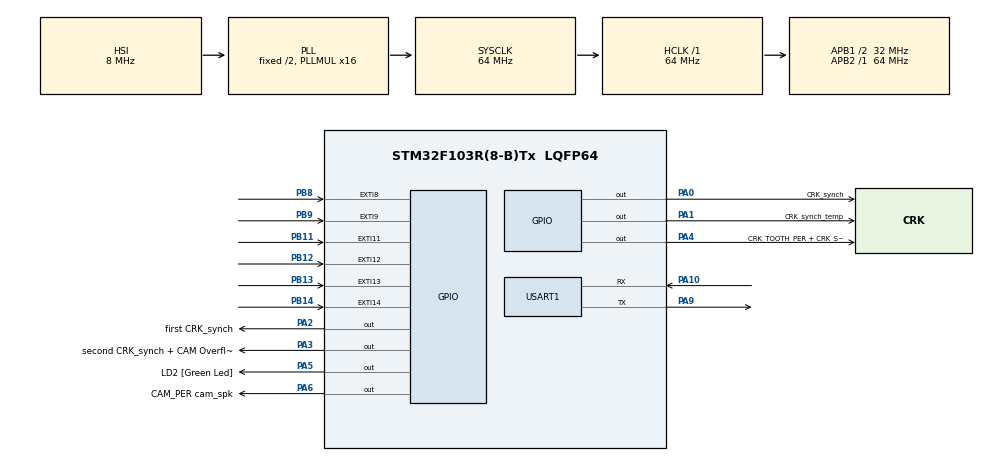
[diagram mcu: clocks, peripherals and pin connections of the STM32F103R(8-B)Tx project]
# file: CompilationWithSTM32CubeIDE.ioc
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Mcu.Family=STM32F1
Mcu.Name=STM32F103R(8-B)Tx
Mcu.Package=LQFP64
NVIC.EXTI15_10_IRQn=true\:0\:0\:false\:false\:true\:true\:true\:true
NVIC.EXTI9_5_IRQn=true\:0\:0\:false\:false\:true\:true\:true\:true
NVIC.PriorityGroup=NVIC_PRIORITYGROUP_4
NVIC.TIM1_UP_IRQn=true\:0\:0\:false\:false\:true\:true\:true\:true
NVIC.TIM2_IRQn=true\:0\:0\:false\:false\:true\:true\:true\:true
NVIC.TIM3_IRQn=true\:0\:0\:false\:false\:true\:true\:true\:true
NVIC.TIM4_IRQn=true\:0\:0\:false\:false\:true\:true\:true\:true
NVIC.USART1_IRQn=true\:0\:0\:false\:false\:true\:true\:true\:true
PA0-WKUP.GPIO_Label=CRK_synch 
PA0-WKUP.Signal=GPIO_Output
PA1.GPIO_Label=CRK_synch_temp
PA1.Signal=GPIO_Output
PA10.Mode=Asynchronous
PA10.Signal=USART1_RX
PA13.GPIO_Label=TMS
PA13.Mode=Serial_Wire
PA13.Signal=SYS_JTMS-SWDIO
PA14.GPIO_Label=TCK
PA14.Mode=Serial_Wire
PA14.Signal=SYS_JTCK-SWCLK
PA2.GPIO_Label=first CRK_synch
PA2.Signal=GPIO_Output
PA3.GPIO_Label=second CRK_synch + CAM Overflow + CRK Overflow
PA3.Signal=GPIO_Output
PA4.GPIO_Label=CRK_TOOTH_PER + CRK_SHO_LEVEL  + SEG_ADP_ER_LIM + CrkPlsOrng + CRK_GAP_NOT_DET
PA4.Signal=GPIO_Output
PA5.GPIO_Label=LD2 [Green Led]
PA5.GPIO_ModeDefaultOutputPP=GPIO_MODE_OUTPUT_PP
PA5.GPIO_PuPd=GPIO_NOPULL
PA5.GPIO_Speed=GPIO_SPEED_FREQ_LOW
PA5.Signal=GPIO_Output
PA6.GPIO_Label=CAM_PER cam_spk
PA6.Signal=GPIO_Output
PA9.Mode=Asynchronous
PA9.Signal=USART1_TX
PB11.Signal=GPXTI11
PB12.Signal=GPXTI12
PB13.Signal=GPXTI13
PB14.Signal=GPXTI14
PB3.GPIO_Label=SWO
PB3.Signal=SYS_JTDO-TRACESWO
PB8.Signal=GPXTI8
PB9.Signal=GPXTI9
PC14-OSC32_IN.Signal=RCC_OSC32_IN
PC15-OSC32_OUT.Signal=RCC_OSC32_OUT
PD0-OSC_IN.Signal=RCC_OSC_IN
PD1-OSC_OUT.Signal=RCC_OSC_OUT
ProjectManager.HeapSize=0x200
ProjectManager.StackSize=0x400
ProjectManager.TargetToolchain=STM32CubeIDE
RCC.AHBFreq_Value=64000000
RCC.APB1CLKDivider=RCC_HCLK_DIV2
RCC.APB1Freq_Value=32000000
RCC.APB1TimFreq_Value=64000000
RCC.APB2Freq_Value=64000000
RCC.APB2TimFreq_Value=64000000
RCC.HCLKFreq_Value=64000000
RCC.PLLMUL=RCC_PLL_MUL16
RCC.SYSCLKFreq_VALUE=64000000
RCC.SYSCLKSource=RCC_SYSCLKSOURCE_PLLCLK
RCC.USBFreq_Value=64000000
TIM1.Period=62999
TIM1.Prescaler=119
TIM2.Period=62999
TIM2.Prescaler=479
TIM3.Period=62999
TIM3.Prescaler=15
TIM4.Period=719
USART1.VirtualMode=VM_ASYNC
VP_TIM1_VS_ClockSourceINT.Mode=Internal
VP_TIM2_VS_ClockSourceINT.Mode=Internal
VP_TIM3_VS_ClockSourceINT.Mode=Internal
VP_TIM4_VS_ClockSourceINT.Mode=Internal
board=NUCLEO-F103RB

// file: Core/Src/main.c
/* USER CODE BEGIN Header */
/**
 ******************************************************************************
 * @file    	  main.c
 * @brief   	  Main program
 * 				  Project name	: STM32-Jammerbox
 * 				  Controller	: STM32F103RB
 * @date		  25 May 2022
 ******************************************************************************
 * @attention
 *
 * All rights reserved.
 *
 * This software is licensed under terms that can be found in the LICENSE file
 * in the root directory of this software component.
 * If no LICENSE file comes with this software, it is provided AS-IS.
 *
 ******************************************************************************
 */

/* USER CODE END Header */
#include "main.h"
#include "tim.h"
#include "usart.h"
#include "gpio.h"

/* USER CODE BEGIN Includes */
// ### Standard includes ###
#include <stdbool.h>
#include <stdint.h>
//#include "stm32f1xx_hal_gpio.h"

// ### Software includes ###

#include "../../JammerBox_Source/header/failures.h"
#include "../../JammerBox_Source/header/synchronization.h"
#include "../../JammerBox_Source/header/system_configuration.h"
#include "../../JammerBox_Source/header/timer.h"
#include "../../JammerBox_Source/header/usart_soft.h"
/* USER CODE END Includes */

/* USER CODE BEGIN PM */
//** CAM_delay **
#define edges_beetween_shift_CAM_delay_definition 6
/* USER CODE END PM */

/* USER CODE BEGIN PV */
/* Global variables ----------------------------------------------------------*/
//***************** CRK ********************
//** User config **
int number_teeth_CRK = 0;
int number_miss_teeth = 0;
int number_gap = 0;
double tdc_to_gap = 0;
double first_seg_angle = 0;
int number_cylinder = 0;
unsigned int first_seg_start_tooth = 0;
double gap_ratio_CRK_DET = 0; // Typical Value for C_CRK_GAP_DET = 1.375
// Gap ratio CRK for Gap Validation
double gap_ratio_CRK_VLD = 0; // Typical Value for C_CRK_GAP_VLD = 3
char sensortype_CRK;          // c = CPDD  h = hall sensor

//Variables to replace the input capture buffer
unsigned long IC1BUF;
unsigned long IC2BUF;
unsigned long IC3BUF;
unsigned long IC4BUF;
unsigned long IC5BUF;
unsigned long IC6BUF;

//** Calculation variables **
unsigned long T_TOOTH_RAW_2 = 0;
unsigned long T_TOOTH_RAW_1 = 0;
unsigned long T_TOOTH_RAW = 0;
unsigned long T_TOOTH_RAW_2_old = 0;
unsigned long T_TOOTH_RAW_1_old = 0;
unsigned long T_TOOTH_RAW_old = 0;
unsigned long low_time_CRK = 0;
unsigned long timer_overflow_CRK = 0;
unsigned int teeth_count_CRK = 0;
unsigned int teeth_count_CAM_CRK_synch = 0;
unsigned int teeth_count_CAM_CRK_synch_ahead = 0;
unsigned int number_real_teeth = 0;
unsigned int number_teeth_between_gaps = 0;
unsigned int delay_counter_CRK = 0;
unsigned int segment_counter_CRK = 0;
unsigned int number_segments_CRK = 0;
unsigned int shift_counter_CRK = 0;
unsigned int start_delay = 100;
unsigned int engine_start_counter = 0;
unsigned int engine_start_counter_limit = 2;
double revolution_CRK = 0;
bool CRK_synch = false;
bool CRK_synch_temp = false;
bool delay_off = false;
bool CRK_signal = false;
bool CRK_config = false;
bool engine_start = false;
bool synch_times_valid = false;

//***************** CAM ********************
//** User config **
unsigned int number_active_edges_CAM[2];
int number_teeth_CAM[2] =
{ 0, 0 };
double filter_time_CAM[2];
double CAM_edges[2][24];
double distance_gap_to_CAM_edge[2][24];
double first_edge_to_tdc0[2] =
{ 0, 0 };
char active_CAM_edges[2]; // f: falling; r: rising; b: both
char sensortype_CAM[2];
int number_of_CAM = 1;
int cam_setup_counter = 0;

//***************** CAM/CRK - configuration completion and output port setting ********************
bool configuration_complete = false;
bool output_level_setting = false;

//***************** CAM/CRK ****************
//** Calculation variables **
unsigned long timer_overflow_CAM = 0;
unsigned long segment_time_CAM = 0;
unsigned int edge_count_CAM[2] =
{ 0, 0 };
unsigned int edge_validation_counter_CAM[2] =
{ 0, 0 };
unsigned int edge_position_counter_CAM[2] =
{ 0, 0 };
unsigned int former_edge_position_CAM[2] =
{ 0, 0 };
unsigned int edge_validation_counter_CAM_ahead[2] =
{ 0, 0 };
unsigned int edge_position_counter_CAM_ahead[2] =
{ 0, 0 };
unsigned int former_edge_position_CAM_ahead[2] =
{ 0, 0 };
double gap_to_edge;
double gap_to_edge_ahead;
double gap_to_first_edge[2] =
{ 0, 0 };
double gap_to_first_edge_difference[2] =
{ 0, 0 };
double tolerance_window_CAM[2];
bool CAM_tolerance_switch[2] =
{ false, false };
bool CAM_CRK_synch_status = false;
bool CAM_CRK_synch_status_ahead = false;
bool CAM_CRK_synch_ahead[2] =
{ false, false };
bool CAM_signal[2] =
{ false, false };
bool CRK_CAM_synch[2] =
{ false, false };
bool CAM_config = false;
int teeth_count_overall = 0;

//***************** Communication validation ************
bool communication_active = false;
bool communication_ready = false;
bool communication_validation = false;

//********** Failure treatment **************
char failure_identify = '0';
// 0: No failure
// 1: CRK_NO_SIG
// 2: CAM_NO_SIG
// 3: CAM/CRK_NO_SIG
// 4: CRK_RUN_OUT
// 5: CAM_PER
// 6: CRK_TOOTH_PER
// 7: CAM_TOOTH_OFF
// 8: CAM_SYN
// 9: CAM_SYN_CRK
// a: CAM_REF_CRK
// b: CRK_SHO_LEVEL
// f: CRK_TOOTH_NR

int active_cam_failure = 0;
// 0: Failur is active on CAM1
// 1: Failur is active on CAM2
// 2: Failur is active on CAM1 and CAM2

//** Labels indicating failure status **
bool failure_active = false;
bool failure_active_CAM_blank_out = false;
bool failure_set = false;
bool failure_passed = false;
bool failure_waiting = false;

//** Labels indicating failure configuration status response to user interface **
bool failure_configured = false;
bool failure_configured_CAM_blank_out = false;

//** Timer overflow values for CRK and CAM - failures
unsigned long timer_overflow_CRK_failure = 0;
unsigned long timer_overflow_CAM_failure = 0;
unsigned long timer_overflow_CAM_REF_CRK = 0;

//** CRK_RUN_OUT **
char sc_type_CRK_RUN_OUT;
unsigned int teeth_counter_CRK_RUN_OUT = 0;
unsigned int angle_to_start_failure_CRK_RUN_OUT;
unsigned int failure_period_CRK_RUN_OUT;
unsigned int counter_TDC0;
int period_counter_CRK_RUN_OUT;
double difference_to_edge_TDC0;
double difference_to_edge_failure_start;
bool detected_TDC0;
bool TDC_on_edge;
bool counter_ready = false;
bool counter_reset = true;

//** CAM_PER **
unsigned int counter_CAM_PER[2] =
{ 0, 0 };
unsigned int number_edges_CAM_PER;
double filter_time_CAM_PER;
double microsecond_per_timer_tick_CAM_PER__CRK_TOOTH_PER = 0.217;
bool all_active_edges_CAM_PER = false;
char active_edges_CAM_PER; // f: falling; r: rising; b: both

//** CRK_TOOTH_PER **
unsigned int start_tooth_CRK_TOOTH_PER;
unsigned int number_pulses_CRK_TOOTH_PER;
unsigned int engine_revolutions_CRK_TOOTH_PER;
unsigned int teeth_counter_CRK_TOOTH_PER;
unsigned int revolution_counter_CRK_TOOTH_PER;
double calculation_factor_CRK_TOOTH_PER;

//** CAM_DELAY(CAM_TOOTH_OFF / CAM_REF_CRK / CAM_SYN / CAM_SYN_CRK) **
unsigned int number_processing_edges_CAM_delay[2] =
{ 0, 0 };
const unsigned int edges_beetween_shift_CAM_delay = 6;
unsigned int shift_counter_CAM_delay[2][edges_beetween_shift_CAM_delay_definition];
double angle_to_edge_CAM_delay[2][edges_beetween_shift_CAM_delay_definition];
double delay_angle_CAM_delay;
double delay_factor_CAM_delay = 1.0;
bool timer_active_CAM_delay[2] =
{ false, false };
bool interrupt_check_CAM_delay[2];

//** CAM_REF_CRK **
unsigned int delay_counter_CAM_REF_CRK;
long double angle_time_to_start_failure_CAM_REF_CRK; // Value Delay (ms or �CRK)
double difference_to_edge_failure_start_CAM_REF_CRK;
char delay_type_CAM_REF_CRK; // t: time / c: �CRK

//** CRK_TOOTH_OFF **
unsigned int number_tooth_off = 0;
unsigned int number_teeth_between_tooth_off = 0;
unsigned int counter_tooth_off = 0;
unsigned int teeth_counter_CRK_TOOTH_OFF = 0;
unsigned int counter_gap_left_CRK_TOOTH_OFF = 0;

//** CRK_GAP_NOT_DET **
unsigned int teeth_counter_CRK_GAP_NOT_DET = 0;
unsigned int timer_Counter_CRK_GAP_NOT_DET = 0;

//** SEG_ADP_ER_LIM **
unsigned int teeth_counter_SEG_ADP_ER_LIM = 0;
unsigned int timer_Counter_SEG_ADP_ER_LIM = 0;
double crk_delay_SEG_ADP_ER_LIM = 0;

//** CRK_PLS_ORNG **
double crk_pulse_duration_CRK_PLS_ORNG = 0;

//** POSN_ENG_STST_LOSS **
unsigned int crk_teeth_off_POSN_ENG_STST = 0;
unsigned int counter_POSN_ENG_STST = 0;

//** CAM_PAT_ERR **
unsigned int active_CAM_edges_counter[2] =
{ 0, 0 };

//** SC_CAM_CRK **
unsigned int sc_type_SC_CAM_CRK = 0;

//**Signal recording of CRK and CAM**
volatile bool should_record;

//***************** UART ********************
//** Receive **
int char_counter = 0;
int data_counter = 0;
char in;
char start_char = '!';
char end_char = '%';
uint8_t input_chars[25];
char input[250];
int input_char_counter = 0;
char temp_chars_1[21];
char temp_chars_2[21];
char temp_chars_3[21];
char temp_chars_4[21];
char temp_chars_5[21];
char temp_chars_6[21];
char temp_chars_7[21];
char temp_chars_8[21];
char temp_chars_9[21];
char temp_chars_10[21];
bool receiving = false;
bool message_received = false;
bool com_error = false;
char message_identify;

//** Send **
char message[14] =
{ '1', '2', '3', '4', '5', '6', '7', '8', '9', 'a', 'b', 'z', 'x', 'y' };
// 1: COM-error
// 2: CRK-configuration ready
// 3: CAM-configuration ready
// 4: CRK-synchronization ready
// 5: CRK-synchronization lost
// 6: CAM/CRK-synchronization ready
// 7: CAM/CRK-synchronization lost
// 8: Failure active
// 9: Failure passive
// a: Failure CAM blank out active
// b: Failure CAM blank out passive
// z: Communication validation
// x: Communication receive ready
// y: Communication receive not ready
/* USER CODE END PV */

void SystemClock_Config(void);
/* USER CODE BEGIN PFP */
void TIM1_PeriodElapsedCallback(void);
void TIM2_PeriodElapsedCallback(void);
void TIM3_PeriodElapsedCallback(void);
void TIM4_PeriodElapsedCallback(void);
/* USER CODE END PFP */

/* USER CODE BEGIN 0 */

// ### EXTI Callback functions ###
void HAL_GPIO_EXTI_Callback(uint16_t GPIO_Pin)
{
	if (GPIO_Pin == 8) // Capture Event rising edge --CRK--
	{
		CRK_signal = true; // Set actual signal level

		if (should_record)
		{
			bool is_crk_buffer_full = CRK_save(GetTimestamp(), CRK_signal);
			if (is_crk_buffer_full)
			{
				should_record = false;
				// Should send CRK and CAM signals if not already sending
			}
		}

		if (failure_active == false) // Set CRK-output
		{
			output_CRK_no_failure();
		}
		else if (failure_identify != '1' && failure_identify != '4'
				&& failure_identify != 'f' && failure_identify != 'b'
				&& failure_identify != 'i' && failure_identify != 'j'
				&& failure_identify != 'k' && failure_identify != 'l'
				&& failure_identify != 'm')
		{
			output_CRK_no_failure();
		}

		low_time_CRK = IC1BUF; // Set actual low time of CRK signal

		output_CRK(failure_identify); // CRK Output
		timer_overflow_CRK = 0;       // edge was detected, so no stalling

	}

	if (GPIO_Pin == 9) //## Capture Event falling edge --CRK--
	{
		CRK_signal = false; // Set actual signal level

		if (should_record)
		{
			bool is_crk_buffer_full = CRK_save(GetTimestamp(), CRK_signal);
			if (is_crk_buffer_full)
			{
				should_record = false;
				// Should send CRK and CAM signals if not already sending
			}
		}

		if (failure_active == false) // Set CRK-output
		{
			output_CRK_no_failure();
		}
		else if (failure_identify != '1' && failure_identify != '4'
				&& failure_identify != 'f' && failure_identify != 'h'
				&& failure_identify != 'i' && failure_identify != 'j'
				&& failure_identify != 'k' && failure_identify != 'l'
				&& failure_identify != 'm')
		{
			output_CRK_no_failure();
		}

		sync_CRK_preparation(); // CRK synchronisation preparation

		output_CRK(failure_identify); // CRK Output
		if (configuration_complete == true)
		{
			sync_CRK(); // CRK synchronisation
		}
		timer_overflow_CRK = 0; // edge was detected, so no stalling
	}

	if (GPIO_Pin == 14) //## Capture Event rising edge --CAM1--
	{

		CAM_signal[0] = true; // Set actual signal level

		if (should_record)
		{
			bool is_cam_buffer_full = CAM_save(GetTimestamp(), CAM_signal[0]);
			if (is_cam_buffer_full)
			{
				should_record = false;
				// Should send CRK and CAM signals if not already sending
			}
		}

		output_CAM(failure_identify, 0); // CAM1 Output

		if (configuration_complete == true)
		{
			sync_CAM_CRK(0); // CAM_CRK Synchronisation
		}
		timer_overflow_CAM = 0; // edge was detected, so no stalling
	}

	if (GPIO_Pin == 11)	//## Capture Event falling edge --CAM1--
	{
		CAM_signal[0] = false;	// Set actual signal level

		if (should_record)
		{
			bool is_cam_buffer_full = CAM_save(GetTimestamp(), CAM_signal[0]);
			if (is_cam_buffer_full)
			{
				should_record = false;
				// Should send CRK and CAM signals if not already sending
			}
		}

		TIM2_Reset();

		output_CAM(failure_identify, 0);	// CAM1 Output

		if (configuration_complete == true)
		{
			sync_CAM_CRK(0); // CAM_CRK Synchronisation
		}
		timer_overflow_CAM = 0; // edge was detected, so no stalling
	}

	if (GPIO_Pin == 12) //## Capture Event rising edge --CAM2--
	{
		CAM_signal[1] = true; // Set actual signal level

		output_CAM(failure_identify, 1); // CAM2 Output

		if (configuration_complete == true)
		{
			sync_CAM_CRK(1); // CAM_CRK Synchronisation
		}
		timer_overflow_CAM = 0; // edge was detected, so no stalling
	}

	if (GPIO_Pin == 13) //## Capture Event falling edge --CAM2--
	{
		if (number_of_CAM == 2)
		{
			CAM_signal[1] = false; // Set actual signal level

			TIM2_Reset();

			output_CAM(failure_identify, 1); // CAM2 Output

			if (configuration_complete == true)
			{
				sync_CAM_CRK(1); // CAM_CRK Synchronisation
			}
			timer_overflow_CAM = 0; // edge was detected, so no stalling
		}
	}
}

void HAL_TIM_PeriodElapsedCallback(TIM_HandleTypeDef *htim)
{
	if (htim == &htim1)
	{
		TIM1_PeriodElapsedCallback();
	}
	if (htim == &htim2)
	{
		TIM2_PeriodElapsedCallback();
	}
	if (htim == &htim3)
	{
		TIM3_PeriodElapsedCallback();
	}
	if (htim == &htim4)
	{
		TIM4_PeriodElapsedCallback();
	}
}

//## Timer 1 Interrupt CRK tooth time (previously timer2)

void TIM1_PeriodElapsedCallback(void)
{

	// all overflows between the events
	timer_overflow_CRK++;
}

//## Timer 2 Interrupt CAM tooth time (previously timer3)

void TIM2_PeriodElapsedCallback(void)
{
// all overflows between the events
// test
	timer_overflow_CAM++;
}
//## Timer 3 Interrupt: CAM_PER - start value

void TIM3_PeriodElapsedCallback(void)
{

	if (failure_identify == '5')
	{ // CAM_PER: error identified by '5'

		if (HAL_GPIO_ReadPin(GPIOA, GPIO_PIN_11) == 1)
		{
			HAL_GPIO_WritePin(GPIOA, GPIO_PIN_11, GPIO_PIN_RESET);
		}
		else
		{
			HAL_GPIO_WritePin(GPIOA, GPIO_PIN_11, GPIO_PIN_SET);
		}

		counter_CAM_PER[0]++; // Number of times we lost CAM with timer 6
		if (counter_CAM_PER[0] == 2)
		{
			HAL_TIM_Base_Stop(&htim3);
			counter_CAM_PER[0] = 0; // Reset timer 6 CAM lost counter
		}
		__HAL_TIM_SET_COUNTER(&htim3, 0); // reset the timers counter
	}
	else if (failure_identify == '6')
	{ // CRK_TOOTH_PER

		// Load the period value 20us  here
		// Timer period = Clock_Period * (PSC+1) * (ARR+1)
		// ideally we want the lowest possible PSC
		// But ARR must not exceed (2^16)-1 = 65535
		// 72Mhz*PSC+1*ARR+1

		__HAL_TIM_SET_AUTORELOAD(&htim4, 1439); // Define ARR value 20us*72Mhz = 1440 (PSC=0 pour TIM7)

		HAL_TIM_Base_Stop(&htim4);

		if (HAL_GPIO_ReadPin(GPIOA, GPIO_PIN_4) == 1)
		{
			HAL_GPIO_WritePin(GPIOA, GPIO_PIN_4, GPIO_PIN_RESET);
		}
		else
		{
			HAL_GPIO_WritePin(GPIOA, GPIO_PIN_4, GPIO_PIN_SET);
		}

		HAL_TIM_Base_Stop(&htim3);
	}
	else if (failure_identify == 'b')
	{ // CRK_SHO_LEVEL

		HAL_GPIO_WritePin(GPIOA, GPIO_PIN_4, GPIO_PIN_SET);

		HAL_TIM_Base_Stop(&htim3);
	}
}

//## Timer 4 Interrupt: CAM_PER - pulse duration

void TIM4_PeriodElapsedCallback(void)
{

	if (failure_identify == '5') // CAM_PER --> Cam_Spk
	{
		if (HAL_GPIO_ReadPin(GPIOA, GPIO_PIN_6) == 1)
		{
			HAL_GPIO_WritePin(GPIOA, GPIO_PIN_6, GPIO_PIN_RESET);
		}
		else
		{
			HAL_GPIO_WritePin(GPIOA, GPIO_PIN_6, GPIO_PIN_SET);
		}

		counter_CAM_PER[1]++; // Number of times we lost CAM with timer 7
		if (counter_CAM_PER[1] == 2)
		{

			HAL_TIM_Base_Stop(&htim4);

			counter_CAM_PER[1] = 0; // Reset timer 7 CAM counter
		}

		__HAL_TIM_SET_COUNTER(&htim4, 0);
	}
	else if (failure_identify == '6') // CRK_TOOTH_PER
	{
		if (HAL_GPIO_ReadPin(GPIOA, GPIO_PIN_4) == 1)
		{
			HAL_GPIO_WritePin(GPIOA, GPIO_PIN_4, GPIO_PIN_RESET);
		}
		else
		{
			HAL_GPIO_WritePin(GPIOA, GPIO_PIN_4, GPIO_PIN_SET);
		}

		HAL_TIM_Base_Stop(&htim4);
	}
	else if (failure_identify == 'j')
	{ // SEG_ADP_ER_LIM

		timer_Counter_SEG_ADP_ER_LIM++;
		switch (timer_Counter_SEG_ADP_ER_LIM)
		{
		case 1:
		{ // failure for the falling edge
			HAL_GPIO_WritePin(GPIOA, GPIO_PIN_4, GPIO_PIN_RESET);
			if (failure_waiting == true)
			{ // if the rising edge has already happen
				if (sensortype_CRK == 'c') // sensor is cpdd
				{
					SysTick_Config(3600); // 72MHz*50us=3600
				}
				else if (sensortype_CRK == 'h')
				{ // all the others
					SysTick_Config((T_TOOTH_RAW / 2) - 1);
				}
				else
				{
					// if sensor type not set, shouldn't happen
					SysTick_Config(1);
				}

				// Start timer systick
				HAL_ResumeTick();
			}
			failure_passed = true;
			break;
		}
		case 2:
		{                           // failure for the rising edge
			SEG_ADP_ER_LIM_reset(); //SEG_... failure_inactive, passed and waiting =false, init timer 7 & 8, SEG_...error counter reset
			break;
		}
		}
		HAL_TIM_Base_Stop(&htim4);
	}
	else if (failure_identify == 'k') // CrkPlsOrng
	{
		HAL_GPIO_WritePin(GPIOA, GPIO_PIN_4, GPIO_PIN_SET);

		HAL_TIM_Base_Stop(&htim4);
	}
	else
	{
		HAL_TIM_Base_Stop(&htim4);
	}
}

// ### USART Receive Callback function ###
void HAL_UART_RxCpltCallback(UART_HandleTypeDef *huart)
{
	HAL_GPIO_WritePin(GPIOA, GPIO_PIN_5, GPIO_PIN_SET);
// Likely similar to an interrupt triggering whenever a char is received as all the receptions we will get are of size 1 char
	if (huart == &huart1)
	{
		// UART Receive
		USART_ProcessMessage();

		//? the receiver buffer and the UxRSR to the empty state
		USART_ProcessMessage();
	}
	else
	{
		char_counter++;

		if (com_error == false && receiving == true && in != end_char)
		{
			input_chars[char_counter - 2] = in; // write received char in array
		}
		else if (com_error == false && in == end_char && receiving == true
				&& char_counter > 2)
		{
			input_chars[char_counter - 2] = '\0'; // set length of array

			char_counter = 0; // reset counter value
			receiving = false; // reset label that indicates receiving status
			message_received = true; // set label that indicates succesfully received message
		}
		else if (in == start_char && char_counter == 1)
		{

			char_counter = 0;        // reset counter value
			receiving = false; // reset label that indicates receiving status
			message_received = true; // set label that indicates succesfully received message
		}
		else if (in == start_char && char_counter == 1)
		{
			uint8_t msg13 = message[13];
			HAL_UART_Transmit_IT(&huart1, &msg13, 1);
			receiving = true;  // set label that indicates receiving status
			com_error = false; // reset COM error, due to received start char
		}
		else
		{
			// send failure message
		}
	}
	USART_ProcessMessage();
}

/* USER CODE END 0 */

int main(void)
{

  /* MCU Configuration--------------------------------------------------------*/

  /* Reset of all peripherals, Initializes the Flash interface and the Systick. */
  HAL_Init();

  /* Configure the system clock */
  SystemClock_Config();

  /* Initialize all configured peripherals */
  MX_GPIO_Init();
  MX_TIM1_Init();
  MX_TIM2_Init();
  MX_TIM3_Init();
  MX_TIM4_Init();
  MX_USART1_UART_Init();
  /* USER CODE BEGIN 2 */
// ## User init ##
	SysTickInit(); //TODO: Check on the systick here

	HAL_GPIO_WritePin(GPIOA, GPIO_PIN_3, GPIO_PIN_RESET);
  /* USER CODE END 2 */

  /* Infinite loop */
	while (1)
	{

    /* USER CODE BEGIN 3 */
		HAL_UART_Receive_IT(&huart1, input_chars, 3);
		// failure processing
		if (configuration_complete)
		{
			failure_processing(failure_identify);
		}

		// process the received message
		if (message_received == true && com_error == false)
		{
			USART_ProcessMessage();
		}

		// reset all values when CRK stalling is detected
		if ((timer_overflow_CRK > 10)) // || (timer_overflow_CAM > 5))
		{
			// Stalling_detection();
			Stalling_detection_CRK();
			HAL_GPIO_WritePin(GPIOA, GPIO_PIN_3, GPIO_PIN_SET);
		}
		// reset all values when CAM stalling is detected //was not here before
		if ((timer_overflow_CAM > 5))
		{
			Stalling_detection_CAM(0);
			Stalling_detection_CAM(1);
			HAL_GPIO_WritePin(GPIOA, GPIO_PIN_3, GPIO_PIN_SET);
		}

		// send failure configuration status
		USART_send_failure_configuration_status(failure_identify,
				failure_configured, failure_configured_CAM_blank_out);

		// check input signal level and set corresponding output level
		Input_signal_observe(output_level_setting);
		if (CRK_synch)
		{
			HAL_GPIO_WritePin(GPIOA, GPIO_PIN_0, GPIO_PIN_SET);
			HAL_GPIO_WritePin(GPIOA, GPIO_PIN_2, GPIO_PIN_RESET);
		}
		else
		{
			HAL_GPIO_WritePin(GPIOA, GPIO_PIN_0, GPIO_PIN_RESET);
		}

		if (CRK_synch_temp)
		{
			HAL_GPIO_WritePin(GPIOA, GPIO_PIN_1, GPIO_PIN_SET);
		}
		else
		{
			HAL_GPIO_WritePin(GPIOA, GPIO_PIN_1, GPIO_PIN_RESET);
		}

		if (CRK_synch)
		{
			HAL_GPIO_WritePin(GPIOA, GPIO_PIN_3, GPIO_PIN_SET);
		}
		else
		{
			HAL_GPIO_WritePin(GPIOA, GPIO_PIN_3, GPIO_PIN_RESET);
		}
	}
  /* USER CODE END 3 */
}

void SystemClock_Config(void)
{
  RCC_OscInitTypeDef RCC_OscInitStruct = {0};
  RCC_ClkInitTypeDef RCC_ClkInitStruct = {0};

  /** Initializes the RCC Oscillators according to the specified parameters
  * in the RCC_OscInitTypeDef structure.
  */
  RCC_OscInitStruct.OscillatorType = RCC_OSCILLATORTYPE_HSI;
  RCC_OscInitStruct.HSIState = RCC_HSI_ON;
  RCC_OscInitStruct.HSICalibrationValue = RCC_HSICALIBRATION_DEFAULT;
  RCC_OscInitStruct.PLL.PLLState = RCC_PLL_ON;
  RCC_OscInitStruct.PLL.PLLSource = RCC_PLLSOURCE_HSI_DIV2;
  RCC_OscInitStruct.PLL.PLLMUL = RCC_PLL_MUL16;
  if (HAL_RCC_OscConfig(&RCC_OscInitStruct) != HAL_OK)
  {
    Error_Handler();
  }

  /** Initializes the CPU, AHB and APB buses clocks
  */
  RCC_ClkInitStruct.ClockType = RCC_CLOCKTYPE_HCLK|RCC_CLOCKTYPE_SYSCLK
                              |RCC_CLOCKTYPE_PCLK1|RCC_CLOCKTYPE_PCLK2;
  RCC_ClkInitStruct.SYSCLKSource = RCC_SYSCLKSOURCE_PLLCLK;
  RCC_ClkInitStruct.AHBCLKDivider = RCC_SYSCLK_DIV1;
  RCC_ClkInitStruct.APB1CLKDivider = RCC_HCLK_DIV2;
  RCC_ClkInitStruct.APB2CLKDivider = RCC_HCLK_DIV1;

  if (HAL_RCC_ClockConfig(&RCC_ClkInitStruct, FLASH_LATENCY_2) != HAL_OK)
  {
    Error_Handler();
  }
}

void Error_Handler(void)
{
  /* USER CODE BEGIN Error_Handler_Debug */
	/* User can add his own implementation to report the HAL error return state */
	__disable_irq();
	while (1)
	{
		HAL_UART_Transmit_IT(&huart1, "ERROR", 6);
		HAL_GPIO_WritePin(GPIOA, GPIO_PIN_5, GPIO_PIN_SET);
	}
  /* USER CODE END Error_Handler_Debug */
}
